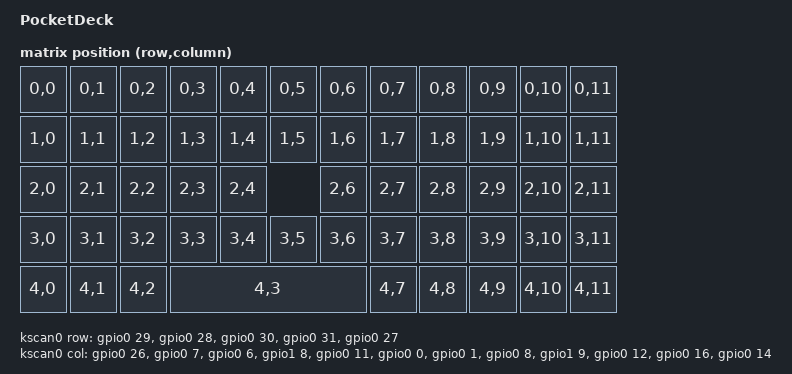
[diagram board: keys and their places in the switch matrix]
/dts-v1/;
#include <nordic/nrf52840_qiaa.dtsi>
#include <zephyr/dt-bindings/regulator/nrf5x.h>
#include <zephyr/dt-bindings/pinctrl/nrf-pinctrl.h>
#include <zephyr/dt-bindings/pwm/pwm.h>
#include <dt-bindings/zmk/matrix_transform.h>
#include <physical_layouts.dtsi>

/ {
    model = "PocketDeck";
    compatible = "pocketdeck";

    chosen {
        zephyr,sram = &sram0;
        zephyr,flash = &flash0;
        zephyr,code-partition = &code_partition;
        zmk,kscan = &kscan0;
        zmk,physical-layout = &default_layout;
        zmk,battery = &vbatt;
    };

    zephyr,user {
        npm1100-chg-gpios = <&gpio0 19 (GPIO_ACTIVE_LOW | GPIO_PULL_UP)>;
        npm1100-iset-gpios = <&gpio0 15 GPIO_ACTIVE_HIGH>;
        npm1100-mode-gpios = <&gpio0 13 GPIO_ACTIVE_HIGH>;
    };

    vbatt: vbatt {
        compatible = "zmk,battery-voltage-divider";
        io-channels = <&adc 2>;
        output-ohms = <1000000>;
        full-ohms = <(1500000 + 220000)>;
    };

    buzzer: buzzer {
        compatible = "zmk,behavior-buzzer";
        #binding-cells = <1>;
        pwms = <&pwm0 0 PWM_HZ(2700) PWM_POLARITY_NORMAL>;
        duration-ms = <40>;
    };

    kscan0: kscan_0 {
        compatible = "zmk,kscan-gpio-matrix";
        diode-direction = "col2row";

        row-gpios = <&gpio0 29 (GPIO_ACTIVE_HIGH | GPIO_PULL_DOWN)>,
                    <&gpio0 28 (GPIO_ACTIVE_HIGH | GPIO_PULL_DOWN)>,
                    <&gpio0 30 (GPIO_ACTIVE_HIGH | GPIO_PULL_DOWN)>,
                    <&gpio0 31 (GPIO_ACTIVE_HIGH | GPIO_PULL_DOWN)>,
                    <&gpio0 27 (GPIO_ACTIVE_HIGH | GPIO_PULL_DOWN)>;

        col-gpios = <&gpio0 26 GPIO_ACTIVE_HIGH>,
                    <&gpio0 7 GPIO_ACTIVE_HIGH>,
                    <&gpio0 6 GPIO_ACTIVE_HIGH>,
                    <&gpio1 8 GPIO_ACTIVE_HIGH>,
                    <&gpio0 11 GPIO_ACTIVE_HIGH>,
                    <&gpio0 0 GPIO_ACTIVE_HIGH>,
                    <&gpio0 1 GPIO_ACTIVE_HIGH>,
                    <&gpio0 8 GPIO_ACTIVE_HIGH>,
                    <&gpio1 9 GPIO_ACTIVE_HIGH>,
                    <&gpio0 12 GPIO_ACTIVE_HIGH>,
                    <&gpio0 16 GPIO_ACTIVE_HIGH>,
                    <&gpio0 14 GPIO_ACTIVE_HIGH>;
    };

    default_transform: keymap_transform_0 {
        compatible = "zmk,matrix-transform";
        columns = <12>;
        rows = <5>;
        map = <
            RC(0,0) RC(0,1) RC(0,2) RC(0,3) RC(0,4) RC(0,5) RC(0,6) RC(0,7) RC(0,8) RC(0,9) RC(0,10) RC(0,11)
            RC(1,0) RC(1,1) RC(1,2) RC(1,3) RC(1,4) RC(1,5) RC(1,6) RC(1,7) RC(1,8) RC(1,9) RC(1,10) RC(1,11)
            RC(2,0) RC(2,1) RC(2,2) RC(2,3) RC(2,4) RC(2,6) RC(2,7) RC(2,8) RC(2,9) RC(2,10) RC(2,11)
            RC(3,0) RC(3,1) RC(3,2) RC(3,3) RC(3,4) RC(3,5) RC(3,6) RC(3,7) RC(3,8) RC(3,9) RC(3,10) RC(3,11)
            RC(4,0) RC(4,1) RC(4,2) RC(4,3) RC(4,7) RC(4,8) RC(4,9) RC(4,10) RC(4,11)
        >;
    };

    default_layout: default_layout {
        compatible = "zmk,physical-layout";
        display-name = "PocketDeck";
        transform = <&default_transform>;
        kscan = <&kscan0>;

        keys =
               <&key_physical_attrs 100 100 0 0 0 0 0>, <&key_physical_attrs 100 100 100 0 0 0 0>, <&key_physical_attrs 100 100 200 0 0 0 0>, <&key_physical_attrs 100 100 300 0 0 0 0>, <&key_physical_attrs 100 100 400 0 0 0 0>, <&key_physical_attrs 100 100 500 0 0 0 0>, <&key_physical_attrs 100 100 600 0 0 0 0>, <&key_physical_attrs 100 100 700 0 0 0 0>, <&key_physical_attrs 100 100 800 0 0 0 0>, <&key_physical_attrs 100 100 900 0 0 0 0>, <&key_physical_attrs 100 100 1000 0 0 0 0>, <&key_physical_attrs 100 100 1100 0 0 0 0>,
               <&key_physical_attrs 100 100 0 100 0 0 0>, <&key_physical_attrs 100 100 100 100 0 0 0>, <&key_physical_attrs 100 100 200 100 0 0 0>, <&key_physical_attrs 100 100 300 100 0 0 0>, <&key_physical_attrs 100 100 400 100 0 0 0>, <&key_physical_attrs 100 100 500 100 0 0 0>, <&key_physical_attrs 100 100 600 100 0 0 0>, <&key_physical_attrs 100 100 700 100 0 0 0>, <&key_physical_attrs 100 100 800 100 0 0 0>, <&key_physical_attrs 100 100 900 100 0 0 0>, <&key_physical_attrs 100 100 1000 100 0 0 0>, <&key_physical_attrs 100 100 1100 100 0 0 0>,
               <&key_physical_attrs 100 100 0 200 0 0 0>, <&key_physical_attrs 100 100 100 200 0 0 0>, <&key_physical_attrs 100 100 200 200 0 0 0>, <&key_physical_attrs 100 100 300 200 0 0 0>, <&key_physical_attrs 100 100 400 200 0 0 0>, <&key_physical_attrs 100 100 600 200 0 0 0>, <&key_physical_attrs 100 100 700 200 0 0 0>, <&key_physical_attrs 100 100 800 200 0 0 0>, <&key_physical_attrs 100 100 900 200 0 0 0>, <&key_physical_attrs 100 100 1000 200 0 0 0>, <&key_physical_attrs 100 100 1100 200 0 0 0>,
               <&key_physical_attrs 100 100 0 300 0 0 0>, <&key_physical_attrs 100 100 100 300 0 0 0>, <&key_physical_attrs 100 100 200 300 0 0 0>, <&key_physical_attrs 100 100 300 300 0 0 0>, <&key_physical_attrs 100 100 400 300 0 0 0>, <&key_physical_attrs 100 100 500 300 0 0 0>, <&key_physical_attrs 100 100 600 300 0 0 0>, <&key_physical_attrs 100 100 700 300 0 0 0>, <&key_physical_attrs 100 100 800 300 0 0 0>, <&key_physical_attrs 100 100 900 300 0 0 0>, <&key_physical_attrs 100 100 1000 300 0 0 0>, <&key_physical_attrs 100 100 1100 300 0 0 0>,
               <&key_physical_attrs 100 100 0 400 0 0 0>, <&key_physical_attrs 100 100 100 400 0 0 0>, <&key_physical_attrs 100 100 200 400 0 0 0>, <&key_physical_attrs 400 100 300 400 0 0 0>, <&key_physical_attrs 100 100 700 400 0 0 0>, <&key_physical_attrs 100 100 800 400 0 0 0>, <&key_physical_attrs 100 100 900 400 0 0 0>, <&key_physical_attrs 100 100 1000 400 0 0 0>, <&key_physical_attrs 100 100 1100 400 0 0 0>;
    };
};

&reg1 {
    regulator-initial-mode = <NRF5X_REG_MODE_DCDC>;
};

&gpio0 {
    status = "okay";
};

&gpio1 {
    status = "okay";
};

&gpiote {
    status = "okay";
};

&adc {
    status = "okay";
};

&usbd {
    status = "okay";
};

&pinctrl {
    pwm0_default: pwm0_default {
        group1 {
            psels = <NRF_PSEL(PWM_OUT0, 0, 17)>;
        };
    };

    pwm0_sleep: pwm0_sleep {
        group1 {
            psels = <NRF_PSEL(PWM_OUT0, 0, 17)>;
            low-power-enable;
        };
    };
};

&pwm0 {
    status = "okay";
    pinctrl-0 = <&pwm0_default>;
    pinctrl-1 = <&pwm0_sleep>;
    pinctrl-names = "default", "sleep";
};

&flash0 {
    partitions {
        compatible = "fixed-partitions";
        #address-cells = <1>;
        #size-cells = <1>;

        sd_partition: partition@0 {
            label = "softdevice";
            reg = <0x00000000 0x00026000>;
        };
        code_partition: partition@26000 {
            label = "code_partition";
            reg = <0x00026000 0x000c6000>;
        };
        storage_partition: partition@ec000 {
            label = "storage";
            reg = <0x000ec000 0x00008000>;
        };
        boot_partition: partition@f4000 {
            label = "adafruit_boot";
            reg = <0x000f4000 0x0000c000>;
        };
    };
};
